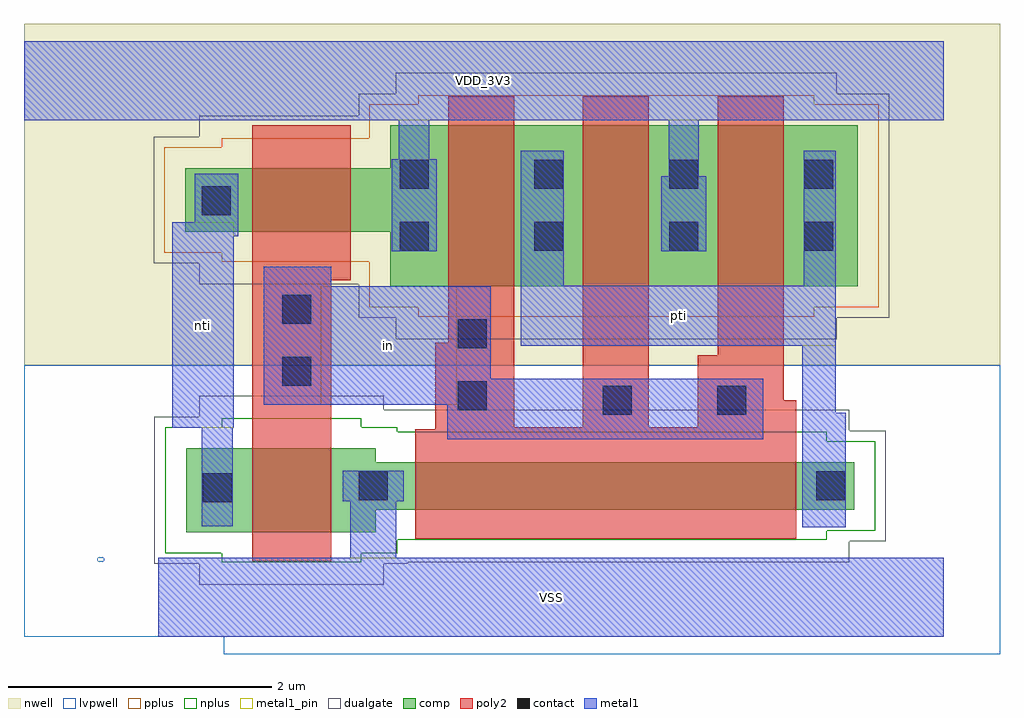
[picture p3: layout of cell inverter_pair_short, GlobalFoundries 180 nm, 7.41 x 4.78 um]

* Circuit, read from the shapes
.subckt inverter_pair_short VDD_3V3 VSS in nti pti
XM1 VSS in nti VSUBS nfet_06v0 w=0.635u l=0.6u
XM2 pti in VSS VSUBS nfet_06v0 w=0.36u l=2.89u
XM3 VDD_3V3 in nti n1 pfet_06v0 w=0.48u l=0.75u
XM4 pti in VDD_3V3 n1 pfet_06v0 w=1.22u l=0.5u m=3
.ends

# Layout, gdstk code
import gdstk
lib = gdstk.Library(unit=1e-6, precision=1e-09)
def R(c, l, rs):  # rectangles x0, y0, x1, y1
    for r in rs: c.add(gdstk.rectangle(r[:2], r[2:], *l))
def A(c, l, x, y, w, h, nx, ny, dx, dy):  # array of equal rectangles
    R(c, l, [(x+i*dx, y+j*dy, x+i*dx+w, y+j*dy+h) for i in range(nx) for j in range(ny)])
nwell = (21, 0)
comp = (22, 0)
poly2 = (30, 0)
pplus = (31, 0)
nplus = (32, 0)
contact = (33, 0)
metal1 = (34, 0)
metal1_pin = (34, 10)
dualgate = (55, 0)
lvpwell = (204, 0)

inverter_pair_short = lib.new_cell('inverter_pair_short')
R(inverter_pair_short, nwell, [(-2.78,1.48,4.625,4.07)])
R(inverter_pair_short, comp, [(-1.55,0.215,-0.11,0.385), (-1.55,0.385,3.52,0.745), (-1.55,0.745,-0.11,0.85), (0,2.08,3.545,2.495), (-1.555,2.495,3.545,2.975), (0,2.975,3.545,3.3)])
R(inverter_pair_short, poly2, [(-1.05,-0.005,-0.45,2.125), (0.19,0.165,3.08,0.995), (0.34,0.995,3.08,1.01), (0.34,1.01,0.94,1.65), (1.46,1.01,1.96,3.52), (2.33,1.01,3.08,1.215), (2.33,1.215,2.985,1.555), (2.485,1.555,2.985,3.52), (0.44,1.65,0.94,3.52), (-1.05,2.125,-0.3,3.3)])
R(inverter_pair_short, pplus, [(0.21,1.85,3.215,1.92), (-0.16,1.92,3.705,2.265), (-1.28,2.265,3.705,2.335), (-1.715,2.335,3.705,3.135), (-1.28,3.135,3.705,3.205), (-0.16,3.205,3.705,3.46), (0.21,3.46,3.215,3.53)])
R(inverter_pair_short, nplus, [(-1.28,-0.015,-0.22,0.055), (-1.71,0.055,0.05,0.155), (-1.71,0.155,3.31,0.225), (-1.71,0.225,3.68,0.905), (-1.71,0.905,3.31,0.975), (-1.71,0.975,0.05,1.01), (-1.28,1.01,-0.22,1.08)])
A(inverter_pair_short, contact, 1.09, 2.35, 0.22, 0.22, 3, 2, 1.025, 0.47)
R(inverter_pair_short, contact, [(-1.425,0.44,-1.205,0.66), (-0.24,0.455,-0.02,0.675), (3.23,0.455,3.45,0.675), (1.61,1.105,1.83,1.325), (2.48,1.105,2.7,1.325), (0.51,1.14,0.73,1.36), (-0.82,1.325,-0.6,1.545), (0.51,1.61,0.73,1.83), (-0.82,1.795,-0.6,2.015), (0.07,2.35,0.29,2.57), (-1.43,2.62,-1.21,2.84), (0.07,2.82,0.29,3.04)])
R(inverter_pair_short, metal1, [(-1.76,-0.58,4.2,0.02), (-0.305,0.02,0.045,0.45), (3.125,0.25,3.455,1.12), (-1.43,0.26,-1.195,1.005), (-0.36,0.45,0.1,0.68), (0.43,0.92,2.83,1.18), (-1.655,1.005,-1.19,2.46), (3.125,1.12,3.38,1.63), (-0.96,1.18,2.83,1.38), (-0.96,1.38,0.76,2.08), (0.99,1.63,3.38,2.085), (-0.96,2.08,-0.45,2.23), (0.99,2.085,1.315,3.11), (3.135,2.085,3.38,3.11), (0.01,2.345,0.35,3.045), (2.055,2.345,2.395,2.915), (-1.655,2.46,-1.155,2.565), (-1.485,2.565,-1.155,2.935), (2.11,2.915,2.34,3.34), (0.065,3.045,0.295,3.34), (-2.78,3.34,4.2,3.94)])
R(inverter_pair_short, metal1_pin, [(-1.76,-0.58,4.2,0.02), (-1.655,1.005,-1.19,2.565), (-0.53,1.18,0.505,2.08), (0.99,1.63,3.38,2.085), (-2.78,3.34,4.2,3.94)])
R(inverter_pair_short, dualgate, [(-1.45,-0.185,-0.05,-0.025), (-1.79,-0.025,0.13,-0.015), (-1.79,-0.015,3.48,0.145), (-1.79,0.145,3.76,0.985), (-1.79,0.985,3.48,1.09), (-1.45,1.09,3.48,1.145), (-1.45,1.145,-0.05,1.25), (0.04,1.68,3.385,1.84), (-0.24,1.84,3.785,2.095), (-1.45,2.095,3.785,2.255), (-1.795,2.255,3.785,3.215), (-1.45,3.215,3.785,3.375), (-0.24,3.375,3.785,3.54), (0.04,3.54,3.385,3.7)])
R(inverter_pair_short, lvpwell, [(-1.265,-0.71,4.625,-0.58), (-2.78,-0.58,4.625,-0.005), (-2.78,-0.005,-2.22,0.02), (-2.175,-0.005,4.625,0.02), (-2.78,0.02,4.625,1.48)])
inverter_pair_short.add(gdstk.Label('in', (-0.012,1.63), layer=34, texttype=10))
inverter_pair_short.add(gdstk.Label('nti', (-1.422,1.785), layer=34, texttype=10))
inverter_pair_short.add(gdstk.Label('pti', (2.185,1.857), layer=34, texttype=10))
inverter_pair_short.add(gdstk.Label('VSS', (1.22,-0.28), layer=34, texttype=10))
inverter_pair_short.add(gdstk.Label('VDD_3V3', (0.71,3.64), layer=34, texttype=10))

lib.write_gds('inverter_pair_short.gds')
